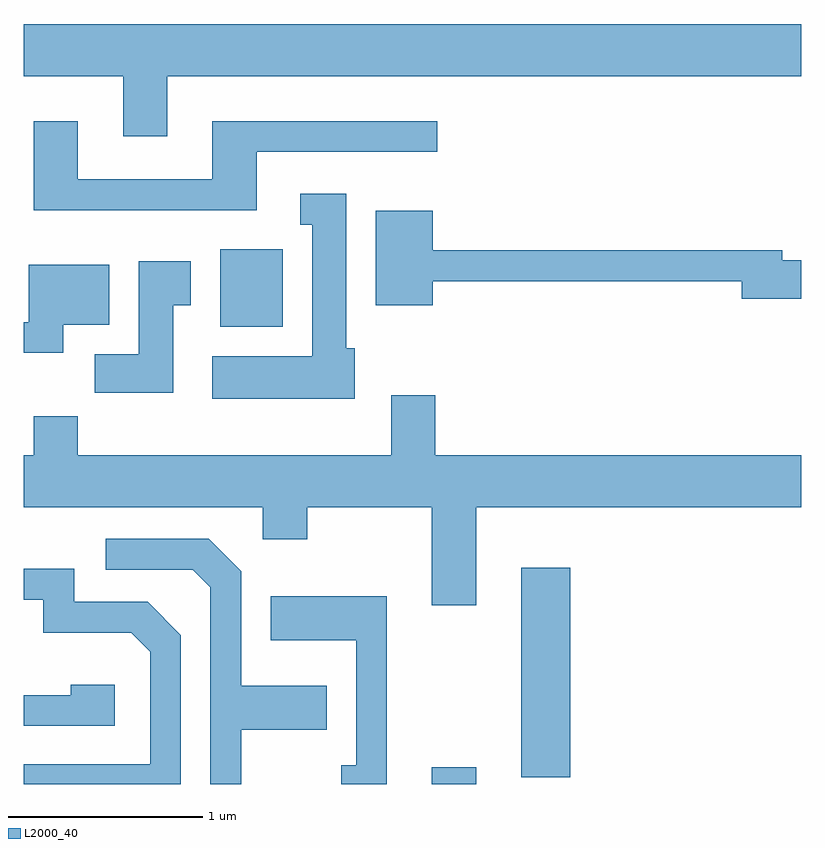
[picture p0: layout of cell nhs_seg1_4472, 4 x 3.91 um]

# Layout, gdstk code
import gdstk
lib = gdstk.Library(unit=1e-6, precision=1e-09)
def R(c, l, rs):  # rectangles x0, y0, x1, y1
    for r in rs: c.add(gdstk.rectangle(r[:2], r[2:], *l))
def P(c, l, *ps):  # polygons
    for p in ps: c.add(gdstk.Polygon(p, *l))
L2000_40 = (2000, 40)

nhs_seg1_4472 = lib.new_cell('nhs_seg1_4472')
R(nhs_seg1_4472, L2000_40, [(321.711,893.712,321.939,893.799), (322.171,893.746,322.424,894.824), (320.621,896.066,320.944,896.464)])
P(nhs_seg1_4472, L2000_40, [(320.349,897.356),(323.611,897.356),(323.611,897.624),(319.611,897.624),(319.611,897.356),(320.121,897.356),(320.121,897.046),(320.349,897.046)],
  [(320.809,896.966),(321.738,896.966),(321.738,897.124),(320.581,897.124),(320.581,896.824),(319.889,896.824),(319.889,897.124),(319.661,897.124),(319.661,896.666),(320.809,896.666)],
  [(321.314,895.954),(321.269,895.954),(321.269,896.749),(321.033,896.749),(321.033,896.591),(321.096,896.591),(321.096,895.914),(320.581,895.914),(320.581,895.696),(321.314,895.696)],
  [(321.714,896.301),(323.306,896.301),(323.306,896.211),(323.611,896.211),(323.611,896.409),(323.514,896.409),(323.514,896.459),(321.714,896.459),(321.714,896.664),(321.421,896.664),(321.421,896.176),(321.714,896.176)],
  [(320.379,896.176),(320.469,896.176),(320.469,896.404),(320.201,896.404),(320.201,895.924),(319.976,895.924),(319.976,895.726),(320.379,895.726)],
  [(319.814,896.076),(320.049,896.076),(320.049,896.384),(319.636,896.384),(319.636,896.089),(319.611,896.089),(319.611,895.931),(319.814,895.931)],
  [(321.501,895.404),(319.889,895.404),(319.889,895.604),(319.661,895.604),(319.661,895.404),(319.611,895.404),(319.611,895.136),(320.841,895.136),(320.841,894.971),(321.069,894.971),(321.069,895.136),(321.711,895.136),(321.711,894.631),(321.939,894.631),(321.939,895.136),(323.611,895.136),(323.611,895.404),(321.729,895.404),(321.729,895.714),(321.501,895.714)],
  [(320.729,893.991),(321.169,893.991),(321.169,894.219),(320.729,894.219),(320.729,894.807),(320.562,894.974),(320.033,894.974),(320.033,894.816),(320.479,894.816),(320.571,894.724),(320.571,893.712),(320.729,893.712)],
  [(320.419,894.477),(320.247,894.649),(319.869,894.649),(319.869,894.819),(319.611,894.819),(319.611,894.661),(319.711,894.661),(319.711,894.491),(320.164,894.491),(320.261,894.394),(320.261,893.814),(319.611,893.814),(319.611,893.712),(320.419,893.712)],
  [(321.479,894.679),(320.881,894.679),(320.881,894.451),(321.321,894.451),(321.321,893.809),(321.243,893.809),(321.243,893.712),(321.479,893.712)],
  [(320.079,894.224),(319.851,894.224),(319.851,894.169),(319.611,894.169),(319.611,894.011),(320.079,894.011)])

lib.write_gds('nhs_seg1_4472.gds')
